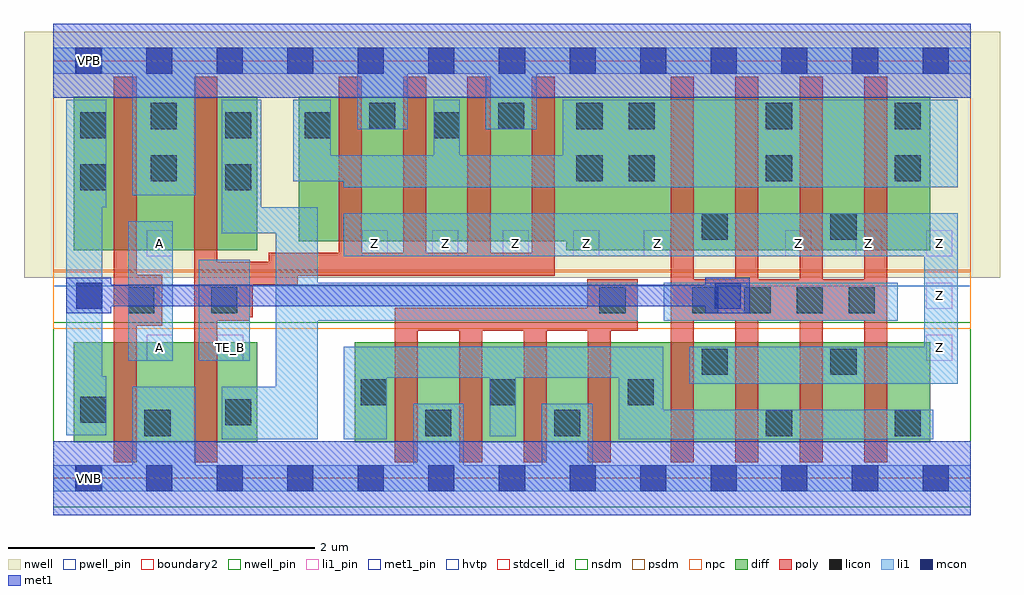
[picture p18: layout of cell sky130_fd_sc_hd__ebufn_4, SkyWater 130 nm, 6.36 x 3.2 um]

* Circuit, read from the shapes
.subckt sky130_fd_sc_hd__ebufn_4 A TE_B VGND VNB VPB VPWR Z
XM1 VGND A n1 VNB sky130_fd_pr__nfet_01v8 w=0.65 l=0.15
XM2 n2 TE_B VGND VNB sky130_fd_pr__nfet_01v8 w=0.65 l=0.15
XM3 VGND n2 n3 VNB sky130_fd_pr__nfet_01v8 w=0.65 l=0.15 m=4
XM4 Z n1 n3 VNB sky130_fd_pr__nfet_01v8 w=0.65 l=0.15 m=4
XM5 VPWR A n1 VPB sky130_fd_pr__pfet_01v8_hvt w=1 l=0.15
XM6 n2 TE_B VPWR VPB sky130_fd_pr__pfet_01v8_hvt w=1 l=0.15
XM7 VPWR TE_B n4 VPB sky130_fd_pr__pfet_01v8_hvt w=0.94 l=0.15 m=4
XM8 Z n1 n4 VPB sky130_fd_pr__pfet_01v8_hvt w=1 l=0.15 m=4
.ends

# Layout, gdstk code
import gdstk
lib = gdstk.Library(unit=1e-6, precision=1e-09)
def R(c, l, rs):  # rectangles x0, y0, x1, y1
    for r in rs: c.add(gdstk.rectangle(r[:2], r[2:], *l))
def A(c, l, x, y, w, h, nx, ny, dx, dy):  # array of equal rectangles
    R(c, l, [(x+i*dx, y+j*dy, x+i*dx+w, y+j*dy+h) for i in range(nx) for j in range(ny)])
def P(c, l, *ps):  # polygons
    for p in ps: c.add(gdstk.Polygon(p, *l))
nwell_pin = (64, 16)
nwell = (64, 20)
diff = (65, 20)
poly = (66, 20)
licon = (66, 44)
li1_pin = (67, 16)
li1 = (67, 20)
mcon = (67, 44)
met1_pin = (68, 16)
met1 = (68, 20)
hvtp = (78, 44)
stdcell_id = (81, 4)
nsdm = (93, 44)
psdm = (94, 20)
npc = (95, 20)
pwell_pin = (122, 16)
boundary2 = (236, 0)

sky130_fd_sc_hd__ebufn_4 = lib.new_cell('sky130_fd_sc_hd__ebufn_4')
R(sky130_fd_sc_hd__ebufn_4, nwell_pin, [(0.15,2.635,0.32,2.805)])
R(sky130_fd_sc_hd__ebufn_4, nwell, [(-0.19,1.305,6.17,2.91)])
R(sky130_fd_sc_hd__ebufn_4, diff, [(0.135,0.235,1.33,0.885), (1.965,0.235,5.715,0.885), (0.135,1.485,1.33,2.485)])
P(sky130_fd_sc_hd__ebufn_4, diff, [(5.715,2.485),(1.6,2.485),(1.6,1.545),(3.345,1.545),(3.345,1.485),(5.715,1.485)])
P(sky130_fd_sc_hd__ebufn_4, poly, [(5.435,2.615),(5.285,2.615),(5.285,1.295),(5.015,1.295),(5.015,2.615),(4.865,2.615),(4.865,1.295),(4.595,1.295),(4.595,2.615),(4.445,2.615),(4.445,1.295),(4.175,1.295),(4.175,2.615),(4.025,2.615),(4.025,0.105),(4.175,0.105),(4.175,1.025),(4.445,1.025),(4.445,0.105),(4.595,0.105),(4.595,1.025),(4.865,1.025),(4.865,0.105),(5.015,0.105),(5.015,1.025),(5.285,1.025),(5.285,0.105),(5.435,0.105)],
  [(3.81,1.295),(3.48,1.295),(3.48,1.11),(2.225,1.11),(2.225,0.105),(2.375,0.105),(2.375,0.96),(2.645,0.96),(2.645,0.105),(2.795,0.105),(2.795,0.96),(3.065,0.96),(3.065,0.105),(3.215,0.105),(3.215,0.96),(3.485,0.96),(3.485,0.105),(3.635,0.105),(3.635,0.96),(3.81,0.96)],
  [(3.27,2.615),(3.12,2.615),(3.12,1.47),(2.85,1.47),(2.85,2.615),(2.7,2.615),(2.7,1.47),(2.43,1.47),(2.43,2.615),(2.28,2.615),(2.28,1.47),(2.01,1.47),(2.01,2.615),(1.86,2.615),(1.86,1.47),(1.405,1.47),(1.405,1.41),(1.07,1.41),(1.07,2.615),(0.92,2.615),(0.92,0.105),(1.07,0.105),(1.07,1.025),(1.28,1.025),(1.28,1.05),(1.3,1.05),(1.3,1.26),(1.595,1.26),(1.595,1.32),(3.27,1.32)],
  [(0.71,1.325),(0.545,1.325),(0.545,2.615),(0.395,2.615),(0.395,0.105),(0.545,0.105),(0.545,0.995),(0.71,0.995)])
A(sky130_fd_sc_hd__ebufn_4, licon, 4.165, 1.075, 0.17, 0.17, 4, 1, 0.34, 0)
R(sky130_fd_sc_hd__ebufn_4, licon, [(0.595,0.275,0.765,0.445), (2.425,0.275,2.595,0.445), (3.265,0.275,3.435,0.445), (4.645,0.275,4.815,0.445), (5.485,0.275,5.655,0.445), (1.12,0.345,1.29,0.515), (0.175,0.36,0.345,0.53), (2.005,0.475,2.175,0.645), (2.845,0.475,3.015,0.645), (3.745,0.475,3.915,0.645), (4.225,0.675,4.395,0.845), (5.065,0.675,5.235,0.845), (0.49,1.075,0.66,1.245), (1.03,1.075,1.2,1.245), (3.56,1.075,3.73,1.245), (4.225,1.555,4.395,1.725), (5.065,1.555,5.235,1.725), (0.175,1.875,0.345,2.045), (1.12,1.875,1.29,2.045), (0.635,1.935,0.805,2.105), (3.41,1.935,3.58,2.105), (3.75,1.935,3.92,2.105), (4.645,1.935,4.815,2.105), (5.485,1.935,5.655,2.105), (0.175,2.215,0.345,2.385), (1.12,2.215,1.29,2.385), (1.64,2.215,1.81,2.385), (2.48,2.215,2.65,2.385), (0.635,2.275,0.805,2.445), (2.06,2.275,2.23,2.445), (2.9,2.275,3.07,2.445), (3.41,2.275,3.58,2.445), (3.75,2.275,3.92,2.445), (4.645,2.275,4.815,2.445), (5.485,2.275,5.655,2.445)])
A(sky130_fd_sc_hd__ebufn_4, li1_pin, 2.01, 1.445, 0.17, 0.17, 5, 1, 0.46, 0)
A(sky130_fd_sc_hd__ebufn_4, li1_pin, 4.77, 1.445, 0.17, 0.17, 3, 1, 0.46, 0)
R(sky130_fd_sc_hd__ebufn_4, li1_pin, [(0.61,0.765,0.78,0.935), (1.07,0.765,1.24,0.935), (5.69,0.765,5.86,0.935), (5.69,1.105,5.86,1.275), (0.61,1.445,0.78,1.615)])
R(sky130_fd_sc_hd__ebufn_4, li1, [(0.49,0.765,0.78,1.675), (0.95,0.765,1.28,1.425), (3.98,1.025,5.505,1.275)])
P(sky130_fd_sc_hd__ebufn_4, li1, [(5.98,0.085),(3.515,0.085),(3.515,0.485),(3.185,0.485),(3.185,0.085),(2.675,0.085),(2.675,0.485),(2.345,0.485),(2.345,0.085),(0.93,0.085),(0.93,0.595),(0.515,0.595),(0.515,0.085),(0,0.085),(0,-0.085),(5.98,-0.085)],
  [(5.895,2.465),(3.32,2.465),(3.32,2.105),(2.65,2.105),(2.65,2.465),(2.48,2.465),(2.48,2.105),(1.81,2.105),(1.81,2.465),(1.565,2.465),(1.565,1.935),(1.895,1.935),(1.895,1.895),(5.895,1.895)],
  [(5.735,0.445),(3.975,0.445),(3.975,0.855),(1.895,0.855),(1.895,0.255),(2.175,0.255),(2.175,0.655),(2.845,0.655),(2.845,0.275),(3.015,0.275),(3.015,0.655),(3.685,0.655),(3.685,0.255),(5.735,0.255)],
  [(3.81,1.275),(1.725,1.275),(1.725,1.765),(1.355,1.765),(1.355,2.465),(1.1,2.465),(1.1,1.595),(1.45,1.595),(1.45,0.595),(1.1,0.595),(1.1,0.255),(1.725,0.255),(1.725,1.025),(3.81,1.025)],
  [(0.345,0.665),(0.32,0.665),(0.32,1.765),(0.345,1.765),(0.345,2.465),(0.085,2.465),(0.085,0.28),(0.345,0.28)],
  [(5.98,2.805),(0,2.805),(0,2.635),(0.515,2.635),(0.515,1.845),(0.93,1.845),(0.93,2.635),(1.98,2.635),(1.98,2.275),(2.31,2.275),(2.31,2.635),(2.82,2.635),(2.82,2.275),(3.15,2.275),(3.15,2.635),(5.98,2.635)],
  [(5.895,1.725),(1.895,1.725),(1.895,1.445),(5.675,1.445),(5.675,0.855),(4.145,0.855),(4.145,0.615),(5.895,0.615)])
A(sky130_fd_sc_hd__ebufn_4, mcon, 0.145, -0.085, 0.17, 0.17, 13, 2, 0.46, 2.72)
R(sky130_fd_sc_hd__ebufn_4, mcon, [(0.15,1.105,0.32,1.275), (4.31,1.105,4.48,1.275)])
R(sky130_fd_sc_hd__ebufn_4, met1_pin, [(0.15,-0.085,0.32,0.085), (0.15,2.635,0.32,2.805)])
R(sky130_fd_sc_hd__ebufn_4, met1, [(0,-0.24,5.98,0.24), (0,2.48,5.98,2.96)])
P(sky130_fd_sc_hd__ebufn_4, met1, [(4.54,1.305),(4.25,1.305),(4.25,1.26),(0.38,1.26),(0.38,1.305),(0.085,1.305),(0.085,1.075),(0.38,1.075),(0.38,1.12),(4.25,1.12),(4.25,1.075),(4.54,1.075)])
R(sky130_fd_sc_hd__ebufn_4, hvtp, [(0,1.25,5.98,2.72)])
R(sky130_fd_sc_hd__ebufn_4, stdcell_id, [(0,0,5.98,2.72)])
R(sky130_fd_sc_hd__ebufn_4, nsdm, [(0,-0.19,5.98,1.015)])
R(sky130_fd_sc_hd__ebufn_4, psdm, [(0,1.355,5.98,2.91)])
R(sky130_fd_sc_hd__ebufn_4, npc, [(0,0.975,5.98,1.345)])
R(sky130_fd_sc_hd__ebufn_4, pwell_pin, [(0.15,-0.085,0.32,0.085)])
R(sky130_fd_sc_hd__ebufn_4, boundary2, [(0,0,5.98,2.72)])
sky130_fd_sc_hd__ebufn_4.add(gdstk.Label('A', (0.695,0.85), layer=67, texttype=5))
sky130_fd_sc_hd__ebufn_4.add(gdstk.Label('Z', (3.935,1.53), layer=67, texttype=5))
sky130_fd_sc_hd__ebufn_4.add(gdstk.Label('Z', (3.475,1.53), layer=67, texttype=5))
sky130_fd_sc_hd__ebufn_4.add(gdstk.Label('Z', (3.015,1.53), layer=67, texttype=5))
sky130_fd_sc_hd__ebufn_4.add(gdstk.Label('Z', (2.555,1.53), layer=67, texttype=5))
sky130_fd_sc_hd__ebufn_4.add(gdstk.Label('Z', (2.095,1.53), layer=67, texttype=5))
sky130_fd_sc_hd__ebufn_4.add(gdstk.Label('Z', (5.775,0.85), layer=67, texttype=5))
sky130_fd_sc_hd__ebufn_4.add(gdstk.Label('Z', (5.775,1.19), layer=67, texttype=5))
sky130_fd_sc_hd__ebufn_4.add(gdstk.Label('Z', (5.775,1.53), layer=67, texttype=5))
sky130_fd_sc_hd__ebufn_4.add(gdstk.Label('Z', (5.315,1.53), layer=67, texttype=5))
sky130_fd_sc_hd__ebufn_4.add(gdstk.Label('Z', (4.855,1.53), layer=67, texttype=5))
sky130_fd_sc_hd__ebufn_4.add(gdstk.Label('TE_B', (1.155,0.85), layer=67, texttype=5))
sky130_fd_sc_hd__ebufn_4.add(gdstk.Label('A', (0.695,1.53), layer=67, texttype=5))
sky130_fd_sc_hd__ebufn_4.add(gdstk.Label('VNB', (0.235,0), layer=64, texttype=59))
sky130_fd_sc_hd__ebufn_4.add(gdstk.Label('VPB', (0.235,2.72), layer=64, texttype=5))
sky130_fd_sc_hd__ebufn_4.add(gdstk.Label('VGND', (0.23,0), layer=68, texttype=5))
sky130_fd_sc_hd__ebufn_4.add(gdstk.Label('VPWR', (0.23,2.72), layer=68, texttype=5))
sky130_fd_sc_hd__ebufn_4.add(gdstk.Label('ebufn_4', (0,0), layer=83, texttype=44))

lib.write_gds('sky130_fd_sc_hd__ebufn_4.gds')
